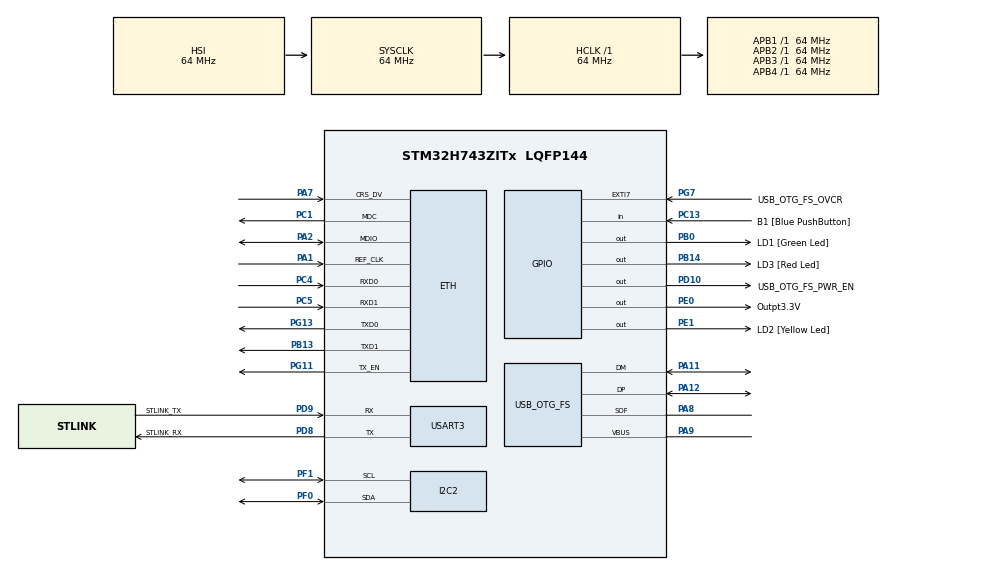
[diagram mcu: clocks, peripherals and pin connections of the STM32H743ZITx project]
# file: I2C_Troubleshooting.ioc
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ETH.MediaInterface=HAL_ETH_RMII_MODE
Mcu.Family=STM32H7
Mcu.Name=STM32H743ZITx
Mcu.Package=LQFP144
NVIC.PriorityGroup=NVIC_PRIORITYGROUP_4
PA1.Mode=RMII
PA1.Signal=ETH_REF_CLK
PA11.Mode=Device_Only
PA11.Signal=USB_OTG_FS_DM
PA12.Mode=Device_Only
PA12.Signal=USB_OTG_FS_DP
PA2.Mode=RMII
PA2.Signal=ETH_MDIO
PA7.Mode=RMII
PA7.Signal=ETH_CRS_DV
PA8.Mode=Activate_SOF_FS
PA8.Signal=USB_OTG_FS_SOF
PA9.Mode=Activate_VBUS
PA9.Signal=USB_OTG_FS_VBUS
PB0.GPIO_Label=LD1 [Green Led]
PB0.Signal=GPIO_Output
PB13.Mode=RMII
PB13.Signal=ETH_TXD1
PB14.GPIO_Label=LD3 [Red Led]
PB14.Signal=GPIO_Output
PC1.Mode=RMII
PC1.Signal=ETH_MDC
PC13.GPIO_Label=B1 [Blue PushButton]
PC13.Signal=GPIO_Input
PC14-OSC32_IN\ (OSC32_IN).Mode=LSE-External-Oscillator
PC14-OSC32_IN\ (OSC32_IN).Signal=RCC_OSC32_IN
PC15-OSC32_OUT\ (OSC32_OUT).Mode=LSE-External-Oscillator
PC15-OSC32_OUT\ (OSC32_OUT).Signal=RCC_OSC32_OUT
PC4.Mode=RMII
PC4.Signal=ETH_RXD0
PC5.Mode=RMII
PC5.Signal=ETH_RXD1
PD10.GPIO_Label=USB_OTG_FS_PWR_EN
PD10.Signal=GPIO_Output
PD8.GPIO_Label=STLINK_RX
PD8.Mode=Asynchronous
PD8.Signal=USART3_TX
PD9.GPIO_Label=STLINK_TX
PD9.Mode=Asynchronous
PD9.Signal=USART3_RX
PE0.GPIO_Label=Outpt3.3V
PE0.PinState=GPIO_PIN_SET
PE0.Signal=GPIO_Output
PE1.GPIO_Label=LD2 [Yellow Led]
PE1.Signal=GPIO_Output
PF0.Mode=I2C
PF0.Signal=I2C2_SDA
PF1.Mode=I2C
PF1.Signal=I2C2_SCL
PG11.Mode=RMII
PG11.Signal=ETH_TX_EN
PG13.Mode=RMII
PG13.Signal=ETH_TXD0
PG7.GPIO_Label=USB_OTG_FS_OVCR
PG7.Signal=GPXTI7
PH0-OSC_IN\ (PH0).Mode=HSE-External-Clock-Source
PH0-OSC_IN\ (PH0).Signal=RCC_OSC_IN
PH1-OSC_OUT\ (PH1).Signal=RCC_OSC_OUT
ProjectManager.HeapSize=0x200
ProjectManager.StackSize=0x400
ProjectManager.TargetToolchain=STM32CubeIDE
RCC.ADCFreq_Value=16125000
RCC.APB1Freq_Value=64000000
RCC.APB2Freq_Value=64000000
RCC.APB3Freq_Value=64000000
RCC.APB4Freq_Value=64000000
RCC.CortexFreq_Value=64000000
RCC.DIVM1=1
RCC.DIVN1=24
RCC.DIVQ1=4
RCC.HCLKFreq_Value=64000000
RCC.HSE_VALUE=8000000
RCC.PLLFRACN=0
RCC.PWR_Regulator_Voltage_Scale=PWR_REGULATOR_VOLTAGE_SCALE2
RCC.SYSCLKFreq_VALUE=64000000
RCC.USBFreq_Value=48000000
USART3.VirtualMode-Asynchronous=VM_ASYNC
USB_OTG_FS.VirtualMode=Device_Only
board=NUCLEO-H743ZI2

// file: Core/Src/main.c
/* USER CODE BEGIN Header */
/**
  ******************************************************************************
  * @file           : main.c
  * @brief          : Main program body
  ******************************************************************************
  * @attention
  *
  * Copyright (c) 2023 STMicroelectronics.
  * All rights reserved.
  *
  * This software is licensed under terms that can be found in the LICENSE file
  * in the root directory of this software component.
  * If no LICENSE file comes with this software, it is provided AS-IS.
  *
  ******************************************************************************
  */
/* USER CODE END Header */
#include "main.h"
#include "string.h"

/* USER CODE BEGIN Includes */
#include <stdio.h>
/* USER CODE END Includes */

#if defined ( __ICCARM__ ) /*!< IAR Compiler */
#pragma location=0x30000000
ETH_DMADescTypeDef  DMARxDscrTab[ETH_RX_DESC_CNT]; /* Ethernet Rx DMA Descriptors */
#pragma location=0x30000200
ETH_DMADescTypeDef  DMATxDscrTab[ETH_TX_DESC_CNT]; /* Ethernet Tx DMA Descriptors */

#elif defined ( __CC_ARM )  /* MDK ARM Compiler */

__attribute__((at(0x30000000))) ETH_DMADescTypeDef  DMARxDscrTab[ETH_RX_DESC_CNT]; /* Ethernet Rx DMA Descriptors */
__attribute__((at(0x30000200))) ETH_DMADescTypeDef  DMATxDscrTab[ETH_TX_DESC_CNT]; /* Ethernet Tx DMA Descriptors */

#elif defined ( __GNUC__ ) /* GNU Compiler */
ETH_DMADescTypeDef DMARxDscrTab[ETH_RX_DESC_CNT] __attribute__((section(".RxDecripSection"))); /* Ethernet Rx DMA Descriptors */
ETH_DMADescTypeDef DMATxDscrTab[ETH_TX_DESC_CNT] __attribute__((section(".TxDecripSection")));   /* Ethernet Tx DMA Descriptors */

#endif

ETH_TxPacketConfig TxConfig;

ETH_HandleTypeDef heth;

I2C_HandleTypeDef hi2c2;

UART_HandleTypeDef huart3;

PCD_HandleTypeDef hpcd_USB_OTG_FS;

/* USER CODE BEGIN PV */

// MAX30205 Settings
float temperature;

/* USER CODE END PV */

void SystemClock_Config(void);
static void MX_GPIO_Init(void);
static void MX_ETH_Init(void);
static void MX_USART3_UART_Init(void);
static void MX_USB_OTG_FS_PCD_Init(void);
static void MX_I2C2_Init(void);
/* USER CODE BEGIN PFP */

HAL_StatusTypeDef read_temp(float *temp);

#ifdef __GNUC__
#define PUTCHAR_PROTOTYPE int __io_putchar(int ch)
#else
#define PUTCHAR_PROTOTYPE int fputc(int ch, FILE *f)
#endif

PUTCHAR_PROTOTYPE
{
  HAL_UART_Transmit(&huart3, (uint8_t *)&ch, 1, HAL_MAX_DELAY);
  return ch;
}

/* USER CODE END PFP */

/* USER CODE BEGIN 0 */

// struct for MAX30205 registers
typedef struct {
  const uint8_t temp_sensor_addr;    // Temperature Sensor Address (0x84) (8-bit address shifted left 1 bit)
  const uint8_t temp_reg;            // Temperature Register (0x00)
  const uint8_t config_reg;          // Configuration Register (0x01)
  const uint8_t temp_hysteresis_reg; // Temperature Hysteresis Register (0x02)
  const uint8_t temp_os_reg;         // Temperature Over-Threshold Shutdown Register (0x03)
} MAX30205;

// MAX30205 struct instance
MAX30205 max30205_chip = {0x84, 0x00, 0x01, 0x02, 0x03};

/* USER CODE END 0 */

int main(void)
{

  /* MCU Configuration--------------------------------------------------------*/

  /* Reset of all peripherals, Initializes the Flash interface and the Systick. */
  HAL_Init();

  /* Configure the system clock */
  SystemClock_Config();

  /* Initialize all configured peripherals */
  MX_GPIO_Init();
  MX_ETH_Init();
  MX_USART3_UART_Init();
  MX_USB_OTG_FS_PCD_Init();
  MX_I2C2_Init();

  /* Infinite loop */
  /* USER CODE BEGIN WHILE */
  while (1)
  {

    // Read temperature data
    read_temp(&temperature);

    // Print the result
    printf("Current temperature is: %.4f\r\n", temperature);

    // Delay 100ms
    HAL_Delay(100);

    /* USER CODE END WHILE */

  }
}

void SystemClock_Config(void)
{
  RCC_OscInitTypeDef RCC_OscInitStruct = {0};
  RCC_ClkInitTypeDef RCC_ClkInitStruct = {0};

  /** Supply configuration update enable
  */
  HAL_PWREx_ConfigSupply(PWR_LDO_SUPPLY);

  /** Configure the main internal regulator output voltage
  */
  __HAL_PWR_VOLTAGESCALING_CONFIG(PWR_REGULATOR_VOLTAGE_SCALE2);

  while(!__HAL_PWR_GET_FLAG(PWR_FLAG_VOSRDY)) {}

  /** Initializes the RCC Oscillators according to the specified parameters
  * in the RCC_OscInitTypeDef structure.
  */
  RCC_OscInitStruct.OscillatorType = RCC_OSCILLATORTYPE_HSI|RCC_OSCILLATORTYPE_HSE;
  RCC_OscInitStruct.HSEState = RCC_HSE_BYPASS;
  RCC_OscInitStruct.HSIState = RCC_HSI_DIV1;
  RCC_OscInitStruct.HSICalibrationValue = RCC_HSICALIBRATION_DEFAULT;
  RCC_OscInitStruct.PLL.PLLState = RCC_PLL_ON;
  RCC_OscInitStruct.PLL.PLLSource = RCC_PLLSOURCE_HSE;
  RCC_OscInitStruct.PLL.PLLM = 1;
  RCC_OscInitStruct.PLL.PLLN = 24;
  RCC_OscInitStruct.PLL.PLLP = 2;
  RCC_OscInitStruct.PLL.PLLQ = 4;
  RCC_OscInitStruct.PLL.PLLR = 2;
  RCC_OscInitStruct.PLL.PLLRGE = RCC_PLL1VCIRANGE_3;
  RCC_OscInitStruct.PLL.PLLVCOSEL = RCC_PLL1VCOWIDE;
  RCC_OscInitStruct.PLL.PLLFRACN = 0;
  if (HAL_RCC_OscConfig(&RCC_OscInitStruct) != HAL_OK)
  {
    Error_Handler();
  }

  /** Initializes the CPU, AHB and APB buses clocks
  */
  RCC_ClkInitStruct.ClockType = RCC_CLOCKTYPE_HCLK|RCC_CLOCKTYPE_SYSCLK
                              |RCC_CLOCKTYPE_PCLK1|RCC_CLOCKTYPE_PCLK2
                              |RCC_CLOCKTYPE_D3PCLK1|RCC_CLOCKTYPE_D1PCLK1;
  RCC_ClkInitStruct.SYSCLKSource = RCC_SYSCLKSOURCE_HSI;
  RCC_ClkInitStruct.SYSCLKDivider = RCC_SYSCLK_DIV1;
  RCC_ClkInitStruct.AHBCLKDivider = RCC_HCLK_DIV1;
  RCC_ClkInitStruct.APB3CLKDivider = RCC_APB3_DIV1;
  RCC_ClkInitStruct.APB1CLKDivider = RCC_APB1_DIV1;
  RCC_ClkInitStruct.APB2CLKDivider = RCC_APB2_DIV1;
  RCC_ClkInitStruct.APB4CLKDivider = RCC_APB4_DIV1;

  if (HAL_RCC_ClockConfig(&RCC_ClkInitStruct, FLASH_LATENCY_1) != HAL_OK)
  {
    Error_Handler();
  }
}

static void MX_ETH_Init(void)
{

   static uint8_t MACAddr[6];

  heth.Instance = ETH;
  MACAddr[0] = 0x00;
  MACAddr[1] = 0x80;
  MACAddr[2] = 0xE1;
  MACAddr[3] = 0x00;
  MACAddr[4] = 0x00;
  MACAddr[5] = 0x00;
  heth.Init.MACAddr = &MACAddr[0];
  heth.Init.MediaInterface = HAL_ETH_RMII_MODE;
  heth.Init.TxDesc = DMATxDscrTab;
  heth.Init.RxDesc = DMARxDscrTab;
  heth.Init.RxBuffLen = 1524;

  if (HAL_ETH_Init(&heth) != HAL_OK)
  {
    Error_Handler();
  }

  memset(&TxConfig, 0 , sizeof(ETH_TxPacketConfig));
  TxConfig.Attributes = ETH_TX_PACKETS_FEATURES_CSUM | ETH_TX_PACKETS_FEATURES_CRCPAD;
  TxConfig.ChecksumCtrl = ETH_CHECKSUM_IPHDR_PAYLOAD_INSERT_PHDR_CALC;
  TxConfig.CRCPadCtrl = ETH_CRC_PAD_INSERT;

}

static void MX_I2C2_Init(void)
{

  hi2c2.Instance = I2C2;
  hi2c2.Init.Timing = 0x10707DBC;
  hi2c2.Init.OwnAddress1 = 0;
  hi2c2.Init.AddressingMode = I2C_ADDRESSINGMODE_7BIT;
  hi2c2.Init.DualAddressMode = I2C_DUALADDRESS_DISABLE;
  hi2c2.Init.OwnAddress2 = 0;
  hi2c2.Init.OwnAddress2Masks = I2C_OA2_NOMASK;
  hi2c2.Init.GeneralCallMode = I2C_GENERALCALL_DISABLE;
  hi2c2.Init.NoStretchMode = I2C_NOSTRETCH_DISABLE;
  if (HAL_I2C_Init(&hi2c2) != HAL_OK)
  {
    Error_Handler();
  }

  /** Configure Analogue filter
  */
  if (HAL_I2CEx_ConfigAnalogFilter(&hi2c2, I2C_ANALOGFILTER_ENABLE) != HAL_OK)
  {
    Error_Handler();
  }

  /** Configure Digital filter
  */
  if (HAL_I2CEx_ConfigDigitalFilter(&hi2c2, 0) != HAL_OK)
  {
    Error_Handler();
  }

}

static void MX_USART3_UART_Init(void)
{

  huart3.Instance = USART3;
  huart3.Init.BaudRate = 115200;
  huart3.Init.WordLength = UART_WORDLENGTH_8B;
  huart3.Init.StopBits = UART_STOPBITS_1;
  huart3.Init.Parity = UART_PARITY_NONE;
  huart3.Init.Mode = UART_MODE_TX_RX;
  huart3.Init.HwFlowCtl = UART_HWCONTROL_NONE;
  huart3.Init.OverSampling = UART_OVERSAMPLING_16;
  huart3.Init.OneBitSampling = UART_ONE_BIT_SAMPLE_DISABLE;
  huart3.Init.ClockPrescaler = UART_PRESCALER_DIV1;
  huart3.AdvancedInit.AdvFeatureInit = UART_ADVFEATURE_NO_INIT;
  if (HAL_UART_Init(&huart3) != HAL_OK)
  {
    Error_Handler();
  }
  if (HAL_UARTEx_SetTxFifoThreshold(&huart3, UART_TXFIFO_THRESHOLD_1_8) != HAL_OK)
  {
    Error_Handler();
  }
  if (HAL_UARTEx_SetRxFifoThreshold(&huart3, UART_RXFIFO_THRESHOLD_1_8) != HAL_OK)
  {
    Error_Handler();
  }
  if (HAL_UARTEx_DisableFifoMode(&huart3) != HAL_OK)
  {
    Error_Handler();
  }

}

static void MX_USB_OTG_FS_PCD_Init(void)
{

  hpcd_USB_OTG_FS.Instance = USB_OTG_FS;
  hpcd_USB_OTG_FS.Init.dev_endpoints = 9;
  hpcd_USB_OTG_FS.Init.speed = PCD_SPEED_FULL;
  hpcd_USB_OTG_FS.Init.dma_enable = DISABLE;
  hpcd_USB_OTG_FS.Init.phy_itface = PCD_PHY_EMBEDDED;
  hpcd_USB_OTG_FS.Init.Sof_enable = ENABLE;
  hpcd_USB_OTG_FS.Init.low_power_enable = DISABLE;
  hpcd_USB_OTG_FS.Init.lpm_enable = DISABLE;
  hpcd_USB_OTG_FS.Init.battery_charging_enable = ENABLE;
  hpcd_USB_OTG_FS.Init.vbus_sensing_enable = ENABLE;
  hpcd_USB_OTG_FS.Init.use_dedicated_ep1 = DISABLE;
  if (HAL_PCD_Init(&hpcd_USB_OTG_FS) != HAL_OK)
  {
    Error_Handler();
  }

}

static void MX_GPIO_Init(void)
{
  GPIO_InitTypeDef GPIO_InitStruct = {0};

  /* GPIO Ports Clock Enable */
  __HAL_RCC_GPIOC_CLK_ENABLE();
  __HAL_RCC_GPIOF_CLK_ENABLE();
  __HAL_RCC_GPIOH_CLK_ENABLE();
  __HAL_RCC_GPIOA_CLK_ENABLE();
  __HAL_RCC_GPIOB_CLK_ENABLE();
  __HAL_RCC_GPIOD_CLK_ENABLE();
  __HAL_RCC_GPIOG_CLK_ENABLE();
  __HAL_RCC_GPIOE_CLK_ENABLE();

  /*Configure GPIO pin Output Level */
  HAL_GPIO_WritePin(GPIOB, LD1_Pin|LD3_Pin, GPIO_PIN_RESET);

  /*Configure GPIO pin Output Level */
  HAL_GPIO_WritePin(USB_OTG_FS_PWR_EN_GPIO_Port, USB_OTG_FS_PWR_EN_Pin, GPIO_PIN_RESET);

  /*Configure GPIO pin Output Level */
  HAL_GPIO_WritePin(Outpt3_3V_GPIO_Port, Outpt3_3V_Pin, GPIO_PIN_SET);

  /*Configure GPIO pin Output Level */
  HAL_GPIO_WritePin(LD2_GPIO_Port, LD2_Pin, GPIO_PIN_RESET);

  /*Configure GPIO pin : B1_Pin */
  GPIO_InitStruct.Pin = B1_Pin;
  GPIO_InitStruct.Mode = GPIO_MODE_INPUT;
  GPIO_InitStruct.Pull = GPIO_NOPULL;
  HAL_GPIO_Init(B1_GPIO_Port, &GPIO_InitStruct);

  /*Configure GPIO pins : LD1_Pin LD3_Pin */
  GPIO_InitStruct.Pin = LD1_Pin|LD3_Pin;
  GPIO_InitStruct.Mode = GPIO_MODE_OUTPUT_PP;
  GPIO_InitStruct.Pull = GPIO_NOPULL;
  GPIO_InitStruct.Speed = GPIO_SPEED_FREQ_LOW;
  HAL_GPIO_Init(GPIOB, &GPIO_InitStruct);

  /*Configure GPIO pin : USB_OTG_FS_PWR_EN_Pin */
  GPIO_InitStruct.Pin = USB_OTG_FS_PWR_EN_Pin;
  GPIO_InitStruct.Mode = GPIO_MODE_OUTPUT_PP;
  GPIO_InitStruct.Pull = GPIO_NOPULL;
  GPIO_InitStruct.Speed = GPIO_SPEED_FREQ_LOW;
  HAL_GPIO_Init(USB_OTG_FS_PWR_EN_GPIO_Port, &GPIO_InitStruct);

  /*Configure GPIO pin : USB_OTG_FS_OVCR_Pin */
  GPIO_InitStruct.Pin = USB_OTG_FS_OVCR_Pin;
  GPIO_InitStruct.Mode = GPIO_MODE_IT_RISING;
  GPIO_InitStruct.Pull = GPIO_NOPULL;
  HAL_GPIO_Init(USB_OTG_FS_OVCR_GPIO_Port, &GPIO_InitStruct);

  /*Configure GPIO pins : Outpt3_3V_Pin LD2_Pin */
  GPIO_InitStruct.Pin = Outpt3_3V_Pin|LD2_Pin;
  GPIO_InitStruct.Mode = GPIO_MODE_OUTPUT_PP;
  GPIO_InitStruct.Pull = GPIO_NOPULL;
  GPIO_InitStruct.Speed = GPIO_SPEED_FREQ_LOW;
  HAL_GPIO_Init(GPIOE, &GPIO_InitStruct);

}

/* USER CODE BEGIN 4 */

/**
 * @brief Get temperature from MAX30205
 * @param address MAX30205 address (8 bits)
 * @param temp pointer to target memory for temperature data
 * @retval HAL status
 */
HAL_StatusTypeDef read_temp(float *temp)
{
	// detecting for success
	HAL_StatusTypeDef ret;

	// register to hold two bytes of temp data
	uint8_t tempData[2];

	// Get temperature data
	ret = HAL_I2C_Mem_Read(&hi2c2, ((uint16_t)(max30205_chip.temp_sensor_addr) | 0x01), max30205_chip.temp_reg, 1, tempData, sizeof(tempData), 50);

	// Detect if it was successfull
	if (ret != HAL_OK)
	{
		return ret;
	}

	// Convert to temperature (Datasheet shows powers of 2 in temperature deg C)
	*temp = ( (tempData[0] << 8) | tempData[1]) / 256;

	return HAL_OK;
}
/* USER CODE END 4 */

void Error_Handler(void)
{
  __disable_irq();
  while (1)
  {
  }
}
